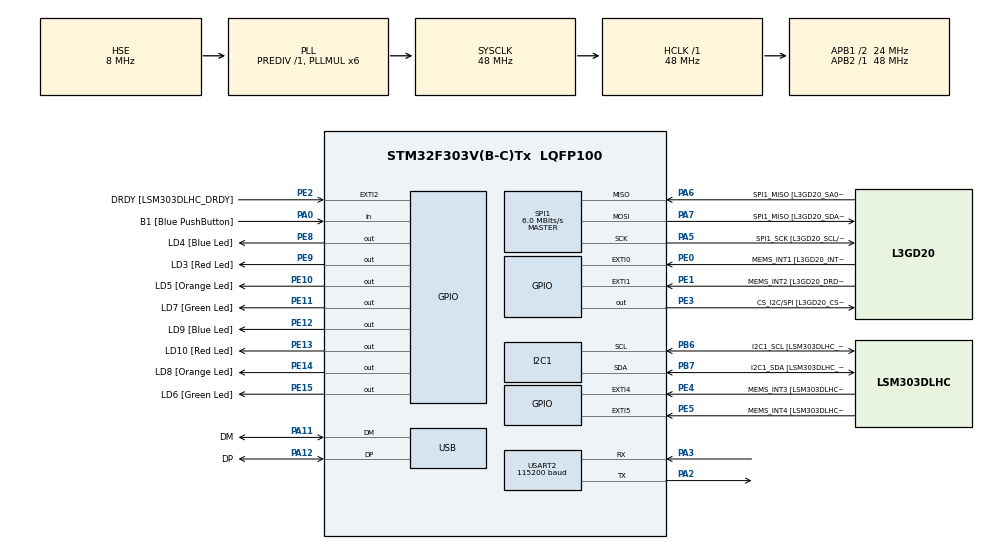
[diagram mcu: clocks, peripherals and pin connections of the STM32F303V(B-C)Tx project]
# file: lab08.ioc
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I2C1.Timing=0x00201D2B
I2C1.Timing-I2C=0x2000090E
Mcu.Family=STM32F3
Mcu.Name=STM32F303V(B-C)Tx
Mcu.Package=LQFP100
NVIC.PriorityGroup=NVIC_PRIORITYGROUP_0
NVIC.SPI1_IRQn=true\:0\:0\:false\:false\:true\:true\:true\:true
PA0.GPIO_Label=B1 [Blue PushButton]
PA0.Signal=GPIO_Input
PA11.GPIO_Label=DM
PA11.Mode=Device
PA11.Signal=USB_DM
PA12.GPIO_Label=DP
PA12.Mode=Device
PA12.Signal=USB_DP
PA13.GPIO_Label=SWDIO
PA13.Mode=Serial_Wire
PA13.Signal=SYS_JTMS-SWDIO
PA14.GPIO_Label=SWCLK
PA14.Mode=Serial_Wire
PA14.Signal=SYS_JTCK-SWCLK
PA2.Mode=Asynchronous
PA2.Signal=USART2_TX
PA3.Mode=Asynchronous
PA3.Signal=USART2_RX
PA5.GPIO_Label=SPI1_SCK [L3GD20_SCL/SPC]
PA5.Mode=Full_Duplex_Master
PA5.Signal=SPI1_SCK
PA6.GPIO_Label=SPI1_MISO [L3GD20_SA0/SDO]
PA6.Mode=Full_Duplex_Master
PA6.Signal=SPI1_MISO
PA7.GPIO_Label=SPI1_MISO [L3GD20_SDA/SDI/SDO]
PA7.Mode=Full_Duplex_Master
PA7.Signal=SPI1_MOSI
PB3.GPIO_Label=SWO
PB3.Signal=SYS_JTDO-TRACESWO
PB6.GPIO_Label=I2C1_SCL [LSM303DLHC_SCL]
PB6.GPIO_Pu=GPIO_PULLUP
PB6.Mode=I2C
PB6.Signal=I2C1_SCL
PB7.GPIO_Label=I2C1_SDA [LSM303DLHC_SDA]
PB7.GPIO_Pu=GPIO_PULLUP
PB7.Mode=I2C
PB7.Signal=I2C1_SDA
PC14-OSC32_IN.GPIO_Label=OSC32_IN
PC14-OSC32_IN.Signal=RCC_OSC32_IN
PC15-OSC32_OUT.GPIO_Label=OSC32_OUT
PC15-OSC32_OUT.Signal=RCC_OSC32_OUT
PE0.GPIO_Label=MEMS_INT1 [L3GD20_INT1]
PE0.GPIO_ModeDefaultEXTI=GPIO_MODE_EVT_RISING
PE0.Signal=GPXTI0
PE1.GPIO_Label=MEMS_INT2 [L3GD20_DRDY/INT2]
PE1.GPIO_ModeDefaultEXTI=GPIO_MODE_EVT_RISING
PE1.Signal=GPXTI1
PE10.GPIO_Label=LD5 [Orange Led]
PE10.Signal=GPIO_Output
PE11.GPIO_Label=LD7 [Green Led]
PE11.Signal=GPIO_Output
PE12.GPIO_Label=LD9 [Blue Led]
PE12.Signal=GPIO_Output
PE13.GPIO_Label=LD10 [Red Led]
PE13.Signal=GPIO_Output
PE14.GPIO_Label=LD8 [Orange Led]
PE14.Signal=GPIO_Output
PE15.GPIO_Label=LD6 [Green Led]
PE15.Signal=GPIO_Output
PE2.GPIO_Label=DRDY [LSM303DLHC_DRDY]
PE2.GPIO_ModeDefaultEXTI=GPIO_MODE_EVT_RISING
PE2.Signal=GPXTI2
PE3.GPIO_Label=CS_I2C/SPI [L3GD20_CS_I2C/SPI]
PE3.Signal=GPIO_Output
PE4.GPIO_Label=MEMS_INT3 [LSM303DLHC_INT1]
PE4.GPIO_ModeDefaultEXTI=GPIO_MODE_EVT_RISING
PE4.Signal=GPXTI4
PE5.GPIO_Label=MEMS_INT4 [LSM303DLHC_INT2]
PE5.GPIO_ModeDefaultEXTI=GPIO_MODE_EVT_RISING
PE5.Signal=GPXTI5
PE8.GPIO_Label=LD4 [Blue Led]
PE8.Signal=GPIO_Output
PE9.GPIO_Label=LD3 [Red Led]
PE9.Signal=GPIO_Output
PF0-OSC_IN.GPIO_Label=OSC_IN
PF0-OSC_IN.Mode=HSE-External-Clock-Source
PF0-OSC_IN.Signal=RCC_OSC_IN
PF1-OSC_OUT.GPIO_Label=OSC_OUT
PF1-OSC_OUT.Signal=RCC_OSC_OUT
ProjectManager.HeapSize=0x200
ProjectManager.StackSize=0x400
ProjectManager.TargetToolchain=CMake
RCC.AHBFreq_Value=48000000
RCC.APB1CLKDivider=RCC_HCLK_DIV2
RCC.APB1Freq_Value=24000000
RCC.APB1TimFreq_Value=48000000
RCC.APB2Freq_Value=48000000
RCC.APB2TimFreq_Value=48000000
RCC.CortexFreq_Value=48000000
RCC.HCLKFreq_Value=48000000
RCC.HSE_VALUE=8000000
RCC.HSI_VALUE=8000000
RCC.LSE_VALUE=32768
RCC.PLLMUL=RCC_PLL_MUL6
RCC.SYSCLKFreq_VALUE=48000000
RCC.SYSCLKSourceVirtual=RCC_SYSCLKSOURCE_PLLCLK
RCC.USBFreq_Value=48000000
SPI1.BaudRatePrescaler=SPI_BAUDRATEPRESCALER_8
SPI1.BaudRatePrescaler-Full_Duplex_Master=SPI_BAUDRATEPRESCALER_2
SPI1.CLKPhase=SPI_PHASE_2EDGE
SPI1.CLKPolarity=SPI_POLARITY_HIGH
SPI1.CalculateBaudRate=6.0 MBits/s
SPI1.CalculateBaudRate-Full_Duplex_Master=24.0 MBits/s
SPI1.DataSize=SPI_DATASIZE_8BIT
SPI1.Direction=SPI_DIRECTION_2LINES
SPI1.Mode=SPI_MODE_MASTER
SPI1.Mode-Full_Duplex_Master=SPI_MODE_MASTER
SPI1.VirtualType=VM_MASTER
USART2.BaudRate=115200
USART2.VirtualMode-Asynchronous=VM_ASYNC
board=STM32F3DISCOVERY

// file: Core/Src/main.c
/* USER CODE BEGIN Header */
/**
  ******************************************************************************
  * @file           : main.c
  * @brief          : Main program body
  ******************************************************************************
  * @attention
  *
  * Copyright (c) 2026 STMicroelectronics.
  * All rights reserved.
  *
  * This software is licensed under terms that can be found in the LICENSE file
  * in the root directory of this software component.
  * If no LICENSE file comes with this software, it is provided AS-IS.
  *
  ******************************************************************************
  */
/* USER CODE END Header */
#include "main.h"
#include "stm32f3xx_hal.h"

/* USER CODE BEGIN Includes */
#include <stdarg.h>
#include <stdio.h>

/* USER CODE END Includes */

I2C_HandleTypeDef hi2c1;

SPI_HandleTypeDef hspi1;

UART_HandleTypeDef huart2;

PCD_HandleTypeDef hpcd_USB_FS;

/* USER CODE BEGIN PV */
/* USER CODE BEGIN PV */
uint8_t spi_tx_buf[9]; // 1 command byte + 8 dummy bytes
uint8_t spi_rx_buf[9]; // 1 dummy byte + 8 data bytes
volatile uint8_t gyro_ready_flag = 0;

// Variables to hold the final converted data
int8_t actual_temp = 0;
float x_dps = 0, y_dps = 0, z_dps = 0;
/* USER CODE END PV */
/* USER CODE END PV */

void SystemClock_Config(void);
static void MX_GPIO_Init(void);
static void MX_I2C1_Init(void);
static void MX_SPI1_Init(void);
static void MX_USB_PCD_Init(void);
static void MX_USART2_UART_Init(void);

/* USER CODE BEGIN 0 */

void gyro_init(void) {
    uint8_t tx[2] = {0x20, 0b10001111}; // CTRL_REG1
    HAL_GPIO_WritePin(GPIOE, GPIO_PIN_3, GPIO_PIN_RESET);
    HAL_SPI_Transmit(&hspi1, tx, 2, HAL_MAX_DELAY);
    HAL_GPIO_WritePin(GPIOE, GPIO_PIN_3, GPIO_PIN_SET);
}

void myPrintf (const char *fmt , ...){
      char buffer[256];
      va_list args;
      va_start (args, fmt);
      int len = vsnprintf(buffer, sizeof(buffer), fmt, args);
      va_end (args);
      HAL_UART_Transmit(&huart2, (uint8_t*)buffer, len, HAL_MAX_DELAY);
  }
/* USER CODE END 0 */

int main(void)
{

  /* MCU Configuration--------------------------------------------------------*/

  /* Reset of all peripherals, Initializes the Flash interface and the Systick. */
  HAL_Init();

  /* Configure the system clock */
  SystemClock_Config();

  /* Initialize all configured peripherals */
  MX_GPIO_Init();
  MX_I2C1_Init();
  MX_SPI1_Init();
  MX_USB_PCD_Init();
  MX_USART2_UART_Init();
  /* USER CODE BEGIN 2 */
  gyro_init(); // Wake up the sensor
  // Prepare the transmission buffer for a Multiple Read
  spi_tx_buf[0] = 0x80 | 0x40 | 0x26; // Read + Increment starting at 0x26
  for(int i = 1; i < 9; i++) {
      spi_tx_buf[i] = 0x00; // Dummy bytes to generate the clock
  }

  // Trigger the very first background SPI reading
  HAL_GPIO_WritePin(GPIOE, GPIO_PIN_3, GPIO_PIN_RESET);
  HAL_SPI_TransmitReceive_IT(&hspi1, spi_tx_buf, spi_rx_buf, 9);  /* USER CODE END 2 */
  /* USER CODE END 2 */

  /* USER CODE BEGIN WHILE */
  while (1)
  {
    if (gyro_ready_flag == 1)
      {
          gyro_ready_flag = 0; // Clear the flag immediately

          // 1. Format and transmit the calculated values via UART
          myPrintf("%d, %.2f, %.2f, %.2f\r\n", actual_temp, x_dps, y_dps, z_dps);

          // 2. Wait 100 ms (10 Hz transmission rate)
          HAL_Delay(100);

          // 3. Trigger the next 9-byte SPI reading in the background
          HAL_GPIO_WritePin(GPIOE, GPIO_PIN_3, GPIO_PIN_RESET);
          HAL_SPI_TransmitReceive_IT(&hspi1, spi_tx_buf, spi_rx_buf, 9);
      }
    /* USER CODE END WHILE */
  }
}

void SystemClock_Config(void)
{
  RCC_OscInitTypeDef RCC_OscInitStruct = {0};
  RCC_ClkInitTypeDef RCC_ClkInitStruct = {0};
  RCC_PeriphCLKInitTypeDef PeriphClkInit = {0};

  /** Initializes the RCC Oscillators according to the specified parameters
  * in the RCC_OscInitTypeDef structure.
  */
  RCC_OscInitStruct.OscillatorType = RCC_OSCILLATORTYPE_HSI|RCC_OSCILLATORTYPE_HSE;
  RCC_OscInitStruct.HSEState = RCC_HSE_BYPASS;
  RCC_OscInitStruct.HSEPredivValue = RCC_HSE_PREDIV_DIV1;
  RCC_OscInitStruct.HSIState = RCC_HSI_ON;
  RCC_OscInitStruct.HSICalibrationValue = RCC_HSICALIBRATION_DEFAULT;
  RCC_OscInitStruct.PLL.PLLState = RCC_PLL_ON;
  RCC_OscInitStruct.PLL.PLLSource = RCC_PLLSOURCE_HSE;
  RCC_OscInitStruct.PLL.PLLMUL = RCC_PLL_MUL6;
  if (HAL_RCC_OscConfig(&RCC_OscInitStruct) != HAL_OK)
  {
    Error_Handler();
  }

  /** Initializes the CPU, AHB and APB buses clocks
  */
  RCC_ClkInitStruct.ClockType = RCC_CLOCKTYPE_HCLK|RCC_CLOCKTYPE_SYSCLK
                              |RCC_CLOCKTYPE_PCLK1|RCC_CLOCKTYPE_PCLK2;
  RCC_ClkInitStruct.SYSCLKSource = RCC_SYSCLKSOURCE_PLLCLK;
  RCC_ClkInitStruct.AHBCLKDivider = RCC_SYSCLK_DIV1;
  RCC_ClkInitStruct.APB1CLKDivider = RCC_HCLK_DIV2;
  RCC_ClkInitStruct.APB2CLKDivider = RCC_HCLK_DIV1;

  if (HAL_RCC_ClockConfig(&RCC_ClkInitStruct, FLASH_LATENCY_1) != HAL_OK)
  {
    Error_Handler();
  }
  PeriphClkInit.PeriphClockSelection = RCC_PERIPHCLK_USB|RCC_PERIPHCLK_USART2
                              |RCC_PERIPHCLK_I2C1;
  PeriphClkInit.Usart2ClockSelection = RCC_USART2CLKSOURCE_PCLK1;
  PeriphClkInit.I2c1ClockSelection = RCC_I2C1CLKSOURCE_HSI;
  PeriphClkInit.USBClockSelection = RCC_USBCLKSOURCE_PLL;
  if (HAL_RCCEx_PeriphCLKConfig(&PeriphClkInit) != HAL_OK)
  {
    Error_Handler();
  }
}

static void MX_I2C1_Init(void)
{

  hi2c1.Instance = I2C1;
  hi2c1.Init.Timing = 0x00201D2B;
  hi2c1.Init.OwnAddress1 = 0;
  hi2c1.Init.AddressingMode = I2C_ADDRESSINGMODE_7BIT;
  hi2c1.Init.DualAddressMode = I2C_DUALADDRESS_DISABLE;
  hi2c1.Init.OwnAddress2 = 0;
  hi2c1.Init.OwnAddress2Masks = I2C_OA2_NOMASK;
  hi2c1.Init.GeneralCallMode = I2C_GENERALCALL_DISABLE;
  hi2c1.Init.NoStretchMode = I2C_NOSTRETCH_DISABLE;
  if (HAL_I2C_Init(&hi2c1) != HAL_OK)
  {
    Error_Handler();
  }

  /** Configure Analogue filter
  */
  if (HAL_I2CEx_ConfigAnalogFilter(&hi2c1, I2C_ANALOGFILTER_ENABLE) != HAL_OK)
  {
    Error_Handler();
  }

  /** Configure Digital filter
  */
  if (HAL_I2CEx_ConfigDigitalFilter(&hi2c1, 0) != HAL_OK)
  {
    Error_Handler();
  }

}

static void MX_SPI1_Init(void)
{

  /* SPI1 parameter configuration*/
  hspi1.Instance = SPI1;
  hspi1.Init.Mode = SPI_MODE_MASTER;
  hspi1.Init.Direction = SPI_DIRECTION_2LINES;
  hspi1.Init.DataSize = SPI_DATASIZE_8BIT;
  hspi1.Init.CLKPolarity = SPI_POLARITY_HIGH;
  hspi1.Init.CLKPhase = SPI_PHASE_2EDGE;
  hspi1.Init.NSS = SPI_NSS_SOFT;
  hspi1.Init.BaudRatePrescaler = SPI_BAUDRATEPRESCALER_8;
  hspi1.Init.FirstBit = SPI_FIRSTBIT_MSB;
  hspi1.Init.TIMode = SPI_TIMODE_DISABLE;
  hspi1.Init.CRCCalculation = SPI_CRCCALCULATION_DISABLE;
  hspi1.Init.CRCPolynomial = 7;
  hspi1.Init.CRCLength = SPI_CRC_LENGTH_DATASIZE;
  hspi1.Init.NSSPMode = SPI_NSS_PULSE_DISABLE;
  if (HAL_SPI_Init(&hspi1) != HAL_OK)
  {
    Error_Handler();
  }

}

static void MX_USART2_UART_Init(void)
{

  huart2.Instance = USART2;
  huart2.Init.BaudRate = 115200;
  huart2.Init.WordLength = UART_WORDLENGTH_8B;
  huart2.Init.StopBits = UART_STOPBITS_1;
  huart2.Init.Parity = UART_PARITY_NONE;
  huart2.Init.Mode = UART_MODE_TX_RX;
  huart2.Init.HwFlowCtl = UART_HWCONTROL_NONE;
  huart2.Init.OverSampling = UART_OVERSAMPLING_16;
  huart2.Init.OneBitSampling = UART_ONE_BIT_SAMPLE_DISABLE;
  huart2.AdvancedInit.AdvFeatureInit = UART_ADVFEATURE_NO_INIT;
  if (HAL_UART_Init(&huart2) != HAL_OK)
  {
    Error_Handler();
  }

}

static void MX_USB_PCD_Init(void)
{

  hpcd_USB_FS.Instance = USB;
  hpcd_USB_FS.Init.dev_endpoints = 8;
  hpcd_USB_FS.Init.speed = PCD_SPEED_FULL;
  hpcd_USB_FS.Init.phy_itface = PCD_PHY_EMBEDDED;
  hpcd_USB_FS.Init.low_power_enable = DISABLE;
  hpcd_USB_FS.Init.battery_charging_enable = DISABLE;
  if (HAL_PCD_Init(&hpcd_USB_FS) != HAL_OK)
  {
    Error_Handler();
  }

}

static void MX_GPIO_Init(void)
{
  GPIO_InitTypeDef GPIO_InitStruct = {0};

  /* GPIO Ports Clock Enable */
  __HAL_RCC_GPIOE_CLK_ENABLE();
  __HAL_RCC_GPIOC_CLK_ENABLE();
  __HAL_RCC_GPIOF_CLK_ENABLE();
  __HAL_RCC_GPIOA_CLK_ENABLE();
  __HAL_RCC_GPIOB_CLK_ENABLE();

  /*Configure GPIO pin Output Level */
  HAL_GPIO_WritePin(GPIOE, CS_I2C_SPI_Pin|LD4_Pin|LD3_Pin|LD5_Pin
                          |LD7_Pin|LD9_Pin|LD10_Pin|LD8_Pin
                          |LD6_Pin, GPIO_PIN_RESET);

  /*Configure GPIO pins : DRDY_Pin MEMS_INT3_Pin MEMS_INT4_Pin MEMS_INT1_Pin
                           MEMS_INT2_Pin */
  GPIO_InitStruct.Pin = DRDY_Pin|MEMS_INT3_Pin|MEMS_INT4_Pin|MEMS_INT1_Pin
                          |MEMS_INT2_Pin;
  GPIO_InitStruct.Mode = GPIO_MODE_EVT_RISING;
  GPIO_InitStruct.Pull = GPIO_NOPULL;
  HAL_GPIO_Init(GPIOE, &GPIO_InitStruct);

  /*Configure GPIO pins : CS_I2C_SPI_Pin LD4_Pin LD3_Pin LD5_Pin
                           LD7_Pin LD9_Pin LD10_Pin LD8_Pin
                           LD6_Pin */
  GPIO_InitStruct.Pin = CS_I2C_SPI_Pin|LD4_Pin|LD3_Pin|LD5_Pin
                          |LD7_Pin|LD9_Pin|LD10_Pin|LD8_Pin
                          |LD6_Pin;
  GPIO_InitStruct.Mode = GPIO_MODE_OUTPUT_PP;
  GPIO_InitStruct.Pull = GPIO_NOPULL;
  GPIO_InitStruct.Speed = GPIO_SPEED_FREQ_LOW;
  HAL_GPIO_Init(GPIOE, &GPIO_InitStruct);

  /*Configure GPIO pin : B1_Pin */
  GPIO_InitStruct.Pin = B1_Pin;
  GPIO_InitStruct.Mode = GPIO_MODE_INPUT;
  GPIO_InitStruct.Pull = GPIO_NOPULL;
  HAL_GPIO_Init(B1_GPIO_Port, &GPIO_InitStruct);

}

/* USER CODE BEGIN 4 */
/* USER CODE BEGIN 4 */
void HAL_SPI_TxRxCpltCallback(SPI_HandleTypeDef *hspi) {
    if (hspi->Instance == SPI1) {
        // 1. Pull CS HIGH to end communication
        HAL_GPIO_WritePin(GPIOE, GPIO_PIN_3, GPIO_PIN_SET);

        // Data mapping in spi_rx_buf:
        // [0] Garbage received during command transmission
        // [1] 0x26 (OUT_TEMP)
        // [2] 0x27 (STATUS_REG) - Ignored
        // [3] 0x28 (OUT_X_L)
        // [4] 0x29 (OUT_X_H)
        // [5] 0x2A (OUT_Y_L)
        // [6] 0x2B (OUT_Y_H)
        // [7] 0x2C (OUT_Z_L)
        // [8] 0x2D (OUT_Z_H)

        // 2. Extract and calibrate Temperature
        actual_temp = (int8_t)spi_rx_buf[1] + 12; // +12 calibration offset

        // 3. Extract and combine X, Y, Z raw values (Little-Endian)
        int16_t x_raw = (int16_t)((spi_rx_buf[4] << 8) | spi_rx_buf[3]);
        int16_t y_raw = (int16_t)((spi_rx_buf[6] << 8) | spi_rx_buf[5]);
        int16_t z_raw = (int16_t)((spi_rx_buf[8] << 8) | spi_rx_buf[7]);

        // 4. Convert to degrees per second
        x_dps = x_raw * 0.00875f;
        y_dps = y_raw * 0.00875f;
        z_dps = z_raw * 0.00875f;

        // 5. Signal the main loop that calculations are done
        gyro_ready_flag = 1;
    }
}
/* USER CODE END 4 */
/* USER CODE END 4 */

void Error_Handler(void)
{
  __disable_irq();
  while (1)
  {
  }
}
